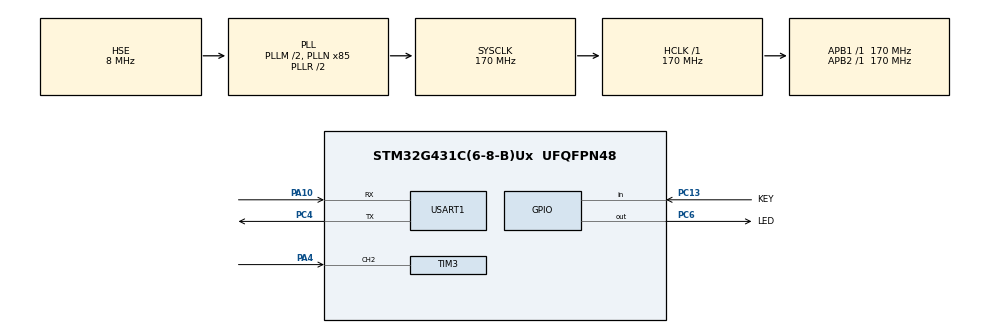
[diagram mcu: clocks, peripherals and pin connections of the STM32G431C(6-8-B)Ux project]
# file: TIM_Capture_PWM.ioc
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Mcu.Family=STM32G4
Mcu.Name=STM32G431C(6-8-B)Ux
Mcu.Package=UFQFPN48
NVIC.PriorityGroup=NVIC_PRIORITYGROUP_4
NVIC.TIM3_IRQn=true\:0\:0\:false\:false\:true\:true\:true\:true
PA10.Mode=Asynchronous
PA10.Signal=USART1_RX
PA13.Mode=Trace_Asynchronous_SW
PA13.Signal=SYS_JTMS-SWDIO
PA14.Mode=Trace_Asynchronous_SW
PA14.Signal=SYS_JTCK-SWCLK
PA4.Signal=S_TIM3_CH2
PB3.Mode=Trace_Asynchronous_SW
PB3.Signal=SYS_JTDO-SWO
PC13.GPIO_Label=KEY
PC13.GPIO_PuPd=GPIO_PULLDOWN
PC13.Signal=GPIO_Input
PC4.Mode=Asynchronous
PC4.Signal=USART1_TX
PC6.GPIO_Label=LED
PC6.GPIO_ModeDefaultOutputPP=GPIO_MODE_OUTPUT_PP
PC6.GPIO_Speed=GPIO_SPEED_FREQ_LOW
PC6.PinState=GPIO_PIN_RESET
PC6.Signal=GPIO_Output
PF0-OSC_IN.Mode=HSE-External-Oscillator
PF0-OSC_IN.Signal=RCC_OSC_IN
PF1-OSC_OUT.Mode=HSE-External-Oscillator
PF1-OSC_OUT.Signal=RCC_OSC_OUT
ProjectManager.HeapSize=0x200
ProjectManager.StackSize=0x400
ProjectManager.TargetToolchain=STM32CubeIDE
RCC.ADC12Freq_Value=170000000
RCC.AHBFreq_Value=170000000
RCC.APB1Freq_Value=170000000
RCC.APB1TimFreq_Value=170000000
RCC.APB2Freq_Value=170000000
RCC.APB2TimFreq_Value=170000000
RCC.CortexFreq_Value=170000000
RCC.EXTERNAL_CLOCK_VALUE=12288000
RCC.HCLKFreq_Value=170000000
RCC.HSE_VALUE=8000000
RCC.HSI48_VALUE=48000000
RCC.HSI_VALUE=16000000
RCC.LSE_VALUE=32768
RCC.PLLM=RCC_PLLM_DIV2
RCC.PLLN=85
RCC.PLLSourceVirtual=RCC_PLLSOURCE_HSE
RCC.SYSCLKFreq_VALUE=170000000
RCC.SYSCLKSource=RCC_SYSCLKSOURCE_PLLCLK
RCC.USBFreq_Value=170000000
RCC.VCOOutputFreq_Value=340000000
SH.S_TIM3_CH2.0=TIM3_CH2,Input_Capture2_from_TI2
TIM3.Channel-Input_Capture1_from_TI2_63=TIM_CHANNEL_1
TIM3.Channel-Input_Capture2_from_TI2=TIM_CHANNEL_2
TIM3.ICPolarity_CH1=TIM_INPUTCHANNELPOLARITY_FALLING
TIM3.Prescaler=170-1
USART1.VirtualMode-Asynchronous=VM_ASYNC
VP_SYS_VS_DBSignals.Mode=DisableDeadBatterySignals
VP_TIM3_VS_indirect_ch2.Mode=Input_Capture1_from_TI2_63
board=custom

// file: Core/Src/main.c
/* USER CODE BEGIN Header */
/**
  ******************************************************************************
  * @file           : main.c
  * @brief          : Main program body
  ******************************************************************************
  * @attention
  *
  * Copyright (c) 2025 STMicroelectronics.
  * All rights reserved.
  *
  * This software is licensed under terms that can be found in the LICENSE file
  * in the root directory of this software component.
  * If no LICENSE file comes with this software, it is provided AS-IS.
  *
  ******************************************************************************
  */
/* USER CODE END Header */
#include "main.h"

/* USER CODE BEGIN Includes */
#include "console.h"
/* USER CODE END Includes */

TIM_HandleTypeDef htim3;

UART_HandleTypeDef huart1;

/* USER CODE BEGIN PV */

uint32_t Frequency;
uint32_t Duty;

/* USER CODE END PV */

void SystemClock_Config(void);
static void MX_GPIO_Init(void);
static void MX_TIM3_Init(void);
static void MX_USART1_UART_Init(void);

/* USER CODE BEGIN 0 */

void TIM3_IRQ(void) {
	if (__HAL_TIM_GET_IT_SOURCE(&htim3, TIM_IT_CC1) != RESET)
	{
	  if (__HAL_TIM_GET_FLAG(&htim3, TIM_FLAG_CC1) != RESET)
	  {
		  __HAL_TIM_CLEAR_FLAG(&htim3, TIM_FLAG_CC1);

	  }
	  __HAL_TIM_CLEAR_IT(&htim3, TIM_IT_CC1);
	}

	if (__HAL_TIM_GET_IT_SOURCE(&htim3, TIM_IT_CC2) != RESET)
	{
		if (__HAL_TIM_GET_FLAG(&htim3, TIM_FLAG_CC2) != RESET)
		{
			__HAL_TIM_CLEAR_FLAG(&htim3, TIM_FLAG_CC2);

			if (HAL_TIM_ReadCapturedValue(&htim3, TIM_CHANNEL_2) > 0) {
				Frequency = 1000000 / HAL_TIM_ReadCapturedValue(&htim3, TIM_CHANNEL_2);
				Duty = 100 * HAL_TIM_ReadCapturedValue(&htim3, TIM_CHANNEL_1) / HAL_TIM_ReadCapturedValue(&htim3, TIM_CHANNEL_2);
			}

			TIM3->CNT = 0;
		}
		__HAL_TIM_CLEAR_IT(&htim3, TIM_IT_CC2);
	 }
}

/* USER CODE END 0 */

int main(void)
{

  /* MCU Configuration--------------------------------------------------------*/

  /* Reset of all peripherals, Initializes the Flash interface and the Systick. */
  HAL_Init();

  /* Configure the system clock */
  SystemClock_Config();

  /* Initialize all configured peripherals */
  MX_GPIO_Init();
  MX_TIM3_Init();
  MX_USART1_UART_Init();
  /* USER CODE BEGIN 2 */

	HAL_TIM_IC_Start_IT(&htim3, TIM_CHANNEL_2);
	HAL_TIM_IC_Start_IT(&htim3, TIM_CHANNEL_1);

  /* USER CODE END 2 */

  /* Infinite loop */
  /* USER CODE BEGIN WHILE */
  while (1)
  {
	  printf("Frequency: %ld Hz, Duty: %ld\r\n", Frequency, Duty);
	  HAL_Delay(1000);

    /* USER CODE END WHILE */

  }
}

void SystemClock_Config(void)
{
  RCC_OscInitTypeDef RCC_OscInitStruct = {0};
  RCC_ClkInitTypeDef RCC_ClkInitStruct = {0};

  /** Configure the main internal regulator output voltage
  */
  HAL_PWREx_ControlVoltageScaling(PWR_REGULATOR_VOLTAGE_SCALE1_BOOST);

  /** Initializes the RCC Oscillators according to the specified parameters
  * in the RCC_OscInitTypeDef structure.
  */
  RCC_OscInitStruct.OscillatorType = RCC_OSCILLATORTYPE_HSE;
  RCC_OscInitStruct.HSEState = RCC_HSE_ON;
  RCC_OscInitStruct.PLL.PLLState = RCC_PLL_ON;
  RCC_OscInitStruct.PLL.PLLSource = RCC_PLLSOURCE_HSE;
  RCC_OscInitStruct.PLL.PLLM = RCC_PLLM_DIV2;
  RCC_OscInitStruct.PLL.PLLN = 85;
  RCC_OscInitStruct.PLL.PLLP = RCC_PLLP_DIV2;
  RCC_OscInitStruct.PLL.PLLQ = RCC_PLLQ_DIV2;
  RCC_OscInitStruct.PLL.PLLR = RCC_PLLR_DIV2;
  if (HAL_RCC_OscConfig(&RCC_OscInitStruct) != HAL_OK)
  {
    Error_Handler();
  }

  /** Initializes the CPU, AHB and APB buses clocks
  */
  RCC_ClkInitStruct.ClockType = RCC_CLOCKTYPE_HCLK|RCC_CLOCKTYPE_SYSCLK
                              |RCC_CLOCKTYPE_PCLK1|RCC_CLOCKTYPE_PCLK2;
  RCC_ClkInitStruct.SYSCLKSource = RCC_SYSCLKSOURCE_PLLCLK;
  RCC_ClkInitStruct.AHBCLKDivider = RCC_SYSCLK_DIV1;
  RCC_ClkInitStruct.APB1CLKDivider = RCC_HCLK_DIV1;
  RCC_ClkInitStruct.APB2CLKDivider = RCC_HCLK_DIV1;

  if (HAL_RCC_ClockConfig(&RCC_ClkInitStruct, FLASH_LATENCY_4) != HAL_OK)
  {
    Error_Handler();
  }
}

static void MX_TIM3_Init(void)
{

  TIM_MasterConfigTypeDef sMasterConfig = {0};
  TIM_IC_InitTypeDef sConfigIC = {0};

  htim3.Instance = TIM3;
  htim3.Init.Prescaler = 170-1;
  htim3.Init.CounterMode = TIM_COUNTERMODE_UP;
  htim3.Init.Period = 65535;
  htim3.Init.ClockDivision = TIM_CLOCKDIVISION_DIV1;
  htim3.Init.AutoReloadPreload = TIM_AUTORELOAD_PRELOAD_DISABLE;
  if (HAL_TIM_IC_Init(&htim3) != HAL_OK)
  {
    Error_Handler();
  }
  sMasterConfig.MasterOutputTrigger = TIM_TRGO_RESET;
  sMasterConfig.MasterSlaveMode = TIM_MASTERSLAVEMODE_DISABLE;
  if (HAL_TIMEx_MasterConfigSynchronization(&htim3, &sMasterConfig) != HAL_OK)
  {
    Error_Handler();
  }
  sConfigIC.ICPolarity = TIM_INPUTCHANNELPOLARITY_FALLING;
  sConfigIC.ICSelection = TIM_ICSELECTION_INDIRECTTI;
  sConfigIC.ICPrescaler = TIM_ICPSC_DIV1;
  sConfigIC.ICFilter = 0;
  if (HAL_TIM_IC_ConfigChannel(&htim3, &sConfigIC, TIM_CHANNEL_1) != HAL_OK)
  {
    Error_Handler();
  }
  sConfigIC.ICPolarity = TIM_INPUTCHANNELPOLARITY_RISING;
  sConfigIC.ICSelection = TIM_ICSELECTION_DIRECTTI;
  if (HAL_TIM_IC_ConfigChannel(&htim3, &sConfigIC, TIM_CHANNEL_2) != HAL_OK)
  {
    Error_Handler();
  }

}

static void MX_USART1_UART_Init(void)
{

  huart1.Instance = USART1;
  huart1.Init.BaudRate = 115200;
  huart1.Init.WordLength = UART_WORDLENGTH_8B;
  huart1.Init.StopBits = UART_STOPBITS_1;
  huart1.Init.Parity = UART_PARITY_NONE;
  huart1.Init.Mode = UART_MODE_TX_RX;
  huart1.Init.HwFlowCtl = UART_HWCONTROL_NONE;
  huart1.Init.OverSampling = UART_OVERSAMPLING_16;
  huart1.Init.OneBitSampling = UART_ONE_BIT_SAMPLE_DISABLE;
  huart1.Init.ClockPrescaler = UART_PRESCALER_DIV1;
  huart1.AdvancedInit.AdvFeatureInit = UART_ADVFEATURE_NO_INIT;
  if (HAL_UART_Init(&huart1) != HAL_OK)
  {
    Error_Handler();
  }
  if (HAL_UARTEx_SetTxFifoThreshold(&huart1, UART_TXFIFO_THRESHOLD_1_8) != HAL_OK)
  {
    Error_Handler();
  }
  if (HAL_UARTEx_SetRxFifoThreshold(&huart1, UART_RXFIFO_THRESHOLD_1_8) != HAL_OK)
  {
    Error_Handler();
  }
  if (HAL_UARTEx_DisableFifoMode(&huart1) != HAL_OK)
  {
    Error_Handler();
  }

}

static void MX_GPIO_Init(void)
{
  GPIO_InitTypeDef GPIO_InitStruct = {0};

  /* GPIO Ports Clock Enable */
  __HAL_RCC_GPIOC_CLK_ENABLE();
  __HAL_RCC_GPIOF_CLK_ENABLE();
  __HAL_RCC_GPIOA_CLK_ENABLE();
  __HAL_RCC_GPIOB_CLK_ENABLE();

  /*Configure GPIO pin Output Level */
  HAL_GPIO_WritePin(LED_GPIO_Port, LED_Pin, GPIO_PIN_RESET);

  /*Configure GPIO pin : KEY_Pin */
  GPIO_InitStruct.Pin = KEY_Pin;
  GPIO_InitStruct.Mode = GPIO_MODE_INPUT;
  GPIO_InitStruct.Pull = GPIO_PULLDOWN;
  HAL_GPIO_Init(KEY_GPIO_Port, &GPIO_InitStruct);

  /*Configure GPIO pin : LED_Pin */
  GPIO_InitStruct.Pin = LED_Pin;
  GPIO_InitStruct.Mode = GPIO_MODE_OUTPUT_PP;
  GPIO_InitStruct.Pull = GPIO_NOPULL;
  GPIO_InitStruct.Speed = GPIO_SPEED_FREQ_LOW;
  HAL_GPIO_Init(LED_GPIO_Port, &GPIO_InitStruct);

}

void Error_Handler(void)
{
  __disable_irq();
  while (1)
  {
  }
}
